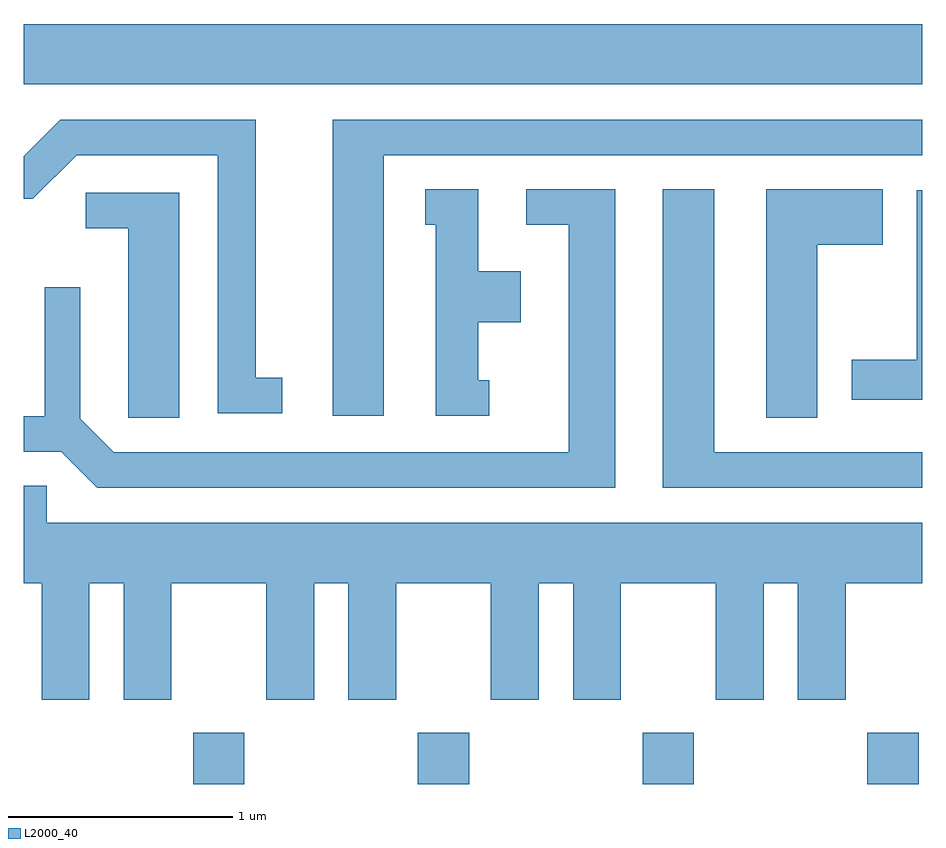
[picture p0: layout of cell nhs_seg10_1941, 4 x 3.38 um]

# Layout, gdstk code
import gdstk
lib = gdstk.Library(unit=1e-6, precision=1e-09)
def R(c, l, rs):  # rectangles x0, y0, x1, y1
    for r in rs: c.add(gdstk.rectangle(r[:2], r[2:], *l))
def A(c, l, x, y, w, h, nx, ny, dx, dy):  # array of equal rectangles
    R(c, l, [(x+i*dx, y+j*dy, x+i*dx+w, y+j*dy+h) for i in range(nx) for j in range(ny)])
def P(c, l, *ps):  # polygons
    for p in ps: c.add(gdstk.Polygon(p, *l))
L2000_40 = (2000, 40)

nhs_seg10_1941 = lib.new_cell('nhs_seg10_1941')
A(nhs_seg10_1941, L2000_40, 242.366, 2168.522, 0.228, 0.227, 4, 1, 1, 0)
R(nhs_seg10_1941, L2000_40, [(241.611,2171.636,245.611,2171.904)])
P(nhs_seg10_1941, L2000_40, [(242.763,2170.329),(242.644,2170.329),(242.644,2171.479),(241.774,2171.479),(241.611,2171.316),(241.611,2171.126),(241.652,2171.126),(241.847,2171.321),(242.476,2171.321),(242.476,2170.171),(242.763,2170.171)],
  [(243.214,2171.321),(245.611,2171.321),(245.611,2171.479),(242.986,2171.479),(242.986,2170.161),(243.214,2170.161)],
  [(243.683,2170.319),(243.634,2170.319),(243.634,2170.576),(243.824,2170.576),(243.824,2170.804),(243.634,2170.804),(243.634,2171.169),(243.398,2171.169),(243.398,2171.011),(243.446,2171.011),(243.446,2170.161),(243.683,2170.161)],
  [(245.144,2170.921),(245.434,2170.921),(245.434,2171.169),(244.916,2171.169),(244.916,2170.151),(245.144,2170.151)],
  [(244.244,2171.169),(243.848,2171.169),(243.848,2171.011),(244.036,2171.011),(244.036,2169.999),(242.012,2169.999),(241.864,2170.147),(241.864,2170.733),(241.706,2170.733),(241.706,2170.159),(241.611,2170.159),(241.611,2170.001),(241.779,2170.001),(241.939,2169.841),(244.244,2169.841)],
  [(245.611,2169.999),(244.684,2169.999),(244.684,2171.169),(244.456,2171.169),(244.456,2169.841),(245.611,2169.841)],
  [(245.611,2171.164),(245.586,2171.164),(245.586,2170.409),(245.296,2170.409),(245.296,2170.231),(245.611,2170.231)],
  [(242.304,2171.154),(241.888,2171.154),(241.888,2170.996),(242.076,2170.996),(242.076,2170.151),(242.304,2170.151)],
  [(241.904,2169.416),(242.056,2169.416),(242.056,2168.896),(242.269,2168.896),(242.269,2169.416),(242.691,2169.416),(242.691,2168.896),(242.904,2168.896),(242.904,2169.416),(243.056,2169.416),(243.056,2168.896),(243.269,2168.896),(243.269,2169.416),(243.691,2169.416),(243.691,2168.896),(243.904,2168.896),(243.904,2169.416),(244.056,2169.416),(244.056,2168.896),(244.269,2168.896),(244.269,2169.416),(244.691,2169.416),(244.691,2168.896),(244.904,2168.896),(244.904,2169.416),(245.056,2169.416),(245.056,2168.896),(245.269,2168.896),(245.269,2169.416),(245.611,2169.416),(245.611,2169.684),(241.714,2169.684),(241.714,2169.849),(241.611,2169.849),(241.611,2169.416),(241.691,2169.416),(241.691,2168.896),(241.904,2168.896)])

lib.write_gds('nhs_seg10_1941.gds')
